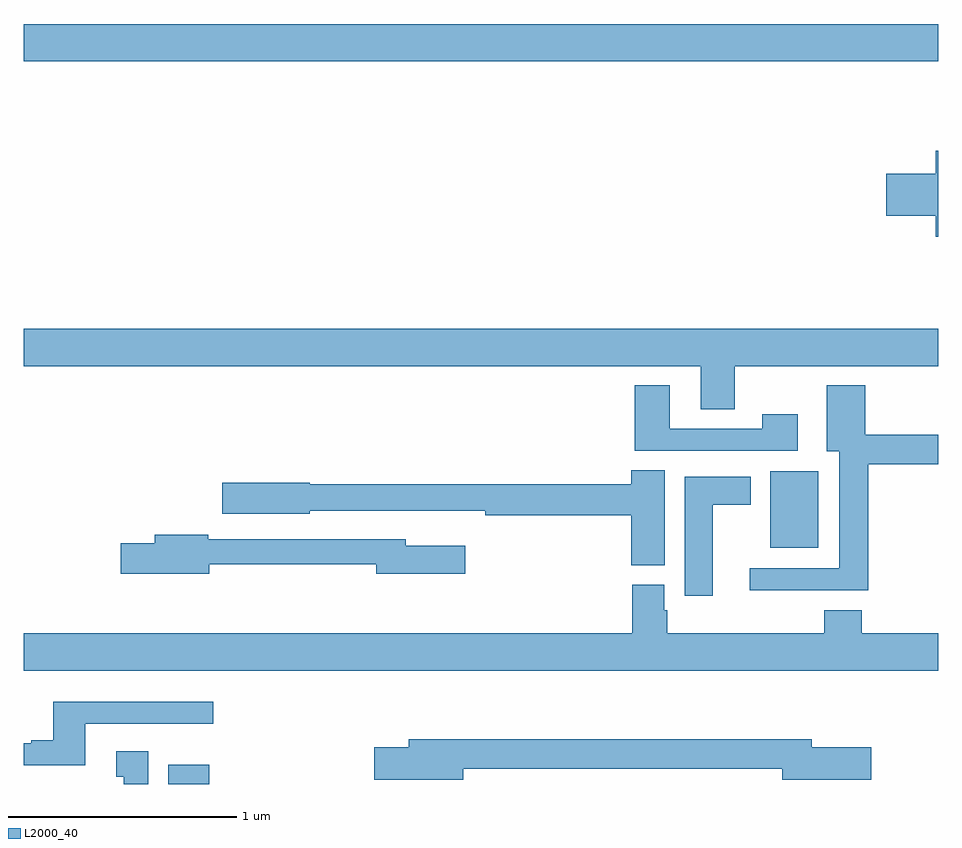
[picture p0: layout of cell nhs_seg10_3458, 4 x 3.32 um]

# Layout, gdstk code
import gdstk
lib = gdstk.Library(unit=1e-6, precision=1e-09)
def R(c, l, rs):  # rectangles x0, y0, x1, y1
    for r in rs: c.add(gdstk.rectangle(r[:2], r[2:], *l))
def P(c, l, *ps):  # polygons
    for p in ps: c.add(gdstk.Polygon(p, *l))
L2000_40 = (2000, 40)

nhs_seg10_3458 = lib.new_cell('nhs_seg10_3458')
R(nhs_seg10_3458, L2000_40, [(299.633,1286.5,299.812,1286.584), (302.264,1287.533,302.476,1287.868), (299,1289.66,303,1289.824)])
P(nhs_seg10_3458, L2000_40, [(303,1289.27),(302.99,1289.27),(302.99,1289.168),(302.772,1289.168),(302.772,1288.985),(302.99,1288.985),(302.99,1288.894),(303,1288.894)],
  [(302.109,1288.328),(303,1288.328),(303,1288.492),(299,1288.492),(299,1288.328),(301.961,1288.328),(301.961,1288.138),(302.109,1288.138)],
  [(302.386,1288.117),(302.23,1288.117),(302.23,1288.053),(301.825,1288.053),(301.825,1288.243),(301.673,1288.243),(301.673,1287.957),(302.386,1287.957)],
  [(302.693,1287.898),(303,1287.898),(303,1288.027),(302.68,1288.027),(302.68,1288.243),(302.513,1288.243),(302.513,1287.956),(302.567,1287.956),(302.567,1287.444),(302.175,1287.444),(302.175,1287.347),(302.693,1287.347)],
  [(301.804,1287.872),(301.658,1287.872),(301.658,1287.812),(300.252,1287.812),(300.252,1287.818),(299.868,1287.818),(299.868,1287.683),(300.252,1287.683),(300.252,1287.696),(300.766,1287.696),(300.766,1287.695),(301.018,1287.695),(301.018,1287.676),(301.658,1287.676),(301.658,1287.457),(301.804,1287.457)],
  [(302.014,1287.722),(302.179,1287.722),(302.179,1287.844),(301.892,1287.844),(301.892,1287.324),(302.014,1287.324)],
  [(299.812,1287.462),(300.542,1287.462),(300.542,1287.419),(300.931,1287.419),(300.931,1287.541),(300.67,1287.541),(300.67,1287.57),(299.808,1287.57),(299.808,1287.59),(299.573,1287.59),(299.573,1287.554),(299.424,1287.554),(299.424,1287.419),(299.812,1287.419)],
  [(303,1287.16),(302.666,1287.16),(302.666,1287.259),(302.501,1287.259),(302.501,1287.16),(301.814,1287.16),(301.814,1287.261),(301.801,1287.261),(301.801,1287.372),(301.661,1287.372),(301.661,1287.16),(299,1287.16),(299,1286.996),(303,1286.996)],
  [(299.269,1286.763),(299.83,1286.763),(299.83,1286.86),(299.129,1286.86),(299.129,1286.692),(299.033,1286.692),(299.033,1286.679),(299,1286.679),(299,1286.582),(299.269,1286.582)],
  [(300.922,1286.566),(302.318,1286.566),(302.318,1286.519),(302.707,1286.519),(302.707,1286.661),(302.446,1286.661),(302.446,1286.695),(300.683,1286.695),(300.683,1286.661),(300.534,1286.661),(300.534,1286.519),(300.922,1286.519)],
  [(299.545,1286.644),(299.405,1286.644),(299.405,1286.531),(299.438,1286.531),(299.438,1286.5),(299.545,1286.5)])

lib.write_gds('nhs_seg10_3458.gds')
